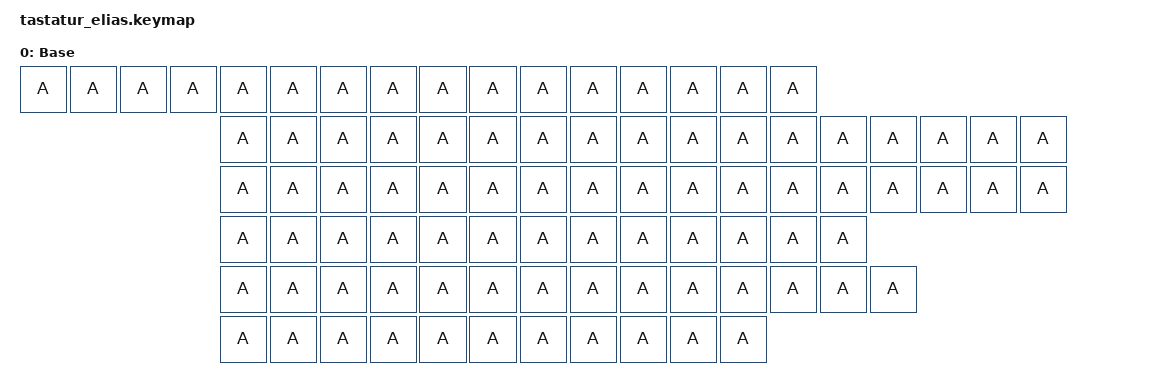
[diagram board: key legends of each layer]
#include <behaviors.dtsi>
#include <dt-bindings/zmk/keys.h>


/ {  
    keymap {
        compatible = "zmk,keymap";

        base_layer {
            display-name = "Base";
            bindings = < &kp A &kp A &kp A &kp A &kp A &kp A &kp A &kp A &kp A &kp A &kp A &kp A &kp A &kp A &kp A &kp A 
                         &kp A &kp A &kp A &kp A &kp A &kp A &kp A &kp A &kp A &kp A &kp A &kp A &kp A &kp A &kp A &kp A &kp A
                         &kp A &kp A &kp A &kp A &kp A &kp A &kp A &kp A &kp A &kp A &kp A &kp A &kp A &kp A &kp A &kp A &kp A
                         &kp A &kp A &kp A &kp A &kp A &kp A &kp A &kp A &kp A &kp A &kp A &kp A &kp A
                         &kp A &kp A &kp A &kp A &kp A &kp A &kp A &kp A &kp A &kp A &kp A &kp A &kp A &kp A
                         &kp A &kp A &kp A &kp A &kp A &kp A &kp A &kp A &kp A &kp A &kp A
            >;
        };
    };
 };
